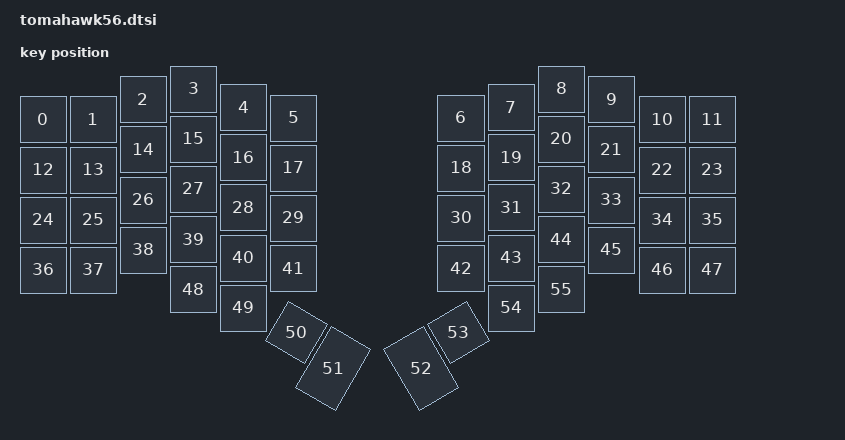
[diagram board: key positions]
#include <physical_layouts.dtsi>

/ {
    mityaliu_tomahawk56_layout: mityaliu_tomahawk56_layout {
        compatible = "zmk,physical-layout";
        display-name = "Default";

        kscan = <&kscan0>;
        transform = <&matrix_transform0>;

        keys  //                     w   h    x    y     rot    rx    ry
            = <&key_physical_attrs 100 100    0   61       0     0     0>
            , <&key_physical_attrs 100 100  100   61       0     0     0>
            , <&key_physical_attrs 100 100  200   21       0     0     0>
            , <&key_physical_attrs 100 100  301    0       0     0     0>
            , <&key_physical_attrs 100 100  401   37       0     0     0>
            , <&key_physical_attrs 100 100  501   58       0     0     0>
            , <&key_physical_attrs 100 100  836   58       0     0     0>
            , <&key_physical_attrs 100 100  937   37       0     0     0>
            , <&key_physical_attrs 100 100 1037    0       0     0     0>
            , <&key_physical_attrs 100 100 1137   21       0     0     0>
            , <&key_physical_attrs 100 100 1238   61       0     0     0>
            , <&key_physical_attrs 100 100 1338   61       0     0     0>
            , <&key_physical_attrs 100 100    0  162       0     0     0>
            , <&key_physical_attrs 100 100  100  162       0     0     0>
            , <&key_physical_attrs 100 100  200  121       0     0     0>
            , <&key_physical_attrs 100 100  301  100       0     0     0>
            , <&key_physical_attrs 100 100  401  137       0     0     0>
            , <&key_physical_attrs 100 100  501  158       0     0     0>
            , <&key_physical_attrs 100 100  836  158       0     0     0>
            , <&key_physical_attrs 100 100  937  137       0     0     0>
            , <&key_physical_attrs 100 100 1037  100       0     0     0>
            , <&key_physical_attrs 100 100 1137  121       0     0     0>
            , <&key_physical_attrs 100 100 1238  162       0     0     0>
            , <&key_physical_attrs 100 100 1338  162       0     0     0>
            , <&key_physical_attrs 100 100    0  262       0     0     0>
            , <&key_physical_attrs 100 100  100  262       0     0     0>
            , <&key_physical_attrs 100 100  200  222       0     0     0>
            , <&key_physical_attrs 100 100  301  200       0     0     0>
            , <&key_physical_attrs 100 100  401  237       0     0     0>
            , <&key_physical_attrs 100 100  501  258       0     0     0>
            , <&key_physical_attrs 100 100  836  258       0     0     0>
            , <&key_physical_attrs 100 100  937  237       0     0     0>
            , <&key_physical_attrs 100 100 1037  200       0     0     0>
            , <&key_physical_attrs 100 100 1137  222       0     0     0>
            , <&key_physical_attrs 100 100 1238  262       0     0     0>
            , <&key_physical_attrs 100 100 1338  262       0     0     0>
            , <&key_physical_attrs 100 100    0  362       0     0     0>
            , <&key_physical_attrs 100 100  100  362       0     0     0>
            , <&key_physical_attrs 100 100  200  322       0     0     0>
            , <&key_physical_attrs 100 100  301  301       0     0     0>
            , <&key_physical_attrs 100 100  401  338       0     0     0>
            , <&key_physical_attrs 100 100  501  359       0     0     0>
            , <&key_physical_attrs 100 100  836  359       0     0     0>
            , <&key_physical_attrs 100 100  937  338       0     0     0>
            , <&key_physical_attrs 100 100 1037  301       0     0     0>
            , <&key_physical_attrs 100 100 1137  322       0     0     0>
            , <&key_physical_attrs 100 100 1238  362       0     0     0>
            , <&key_physical_attrs 100 100 1338  362       0     0     0>
            , <&key_physical_attrs 100 100  301  401       0     0     0>
            , <&key_physical_attrs 100 100  401  438       0     0     0>
            , <&key_physical_attrs 100 100  507  487    3000   557   537>
            , <&key_physical_attrs 100 150  593  537    3000   643   587>
            , <&key_physical_attrs 100 150  744  537 (-3000)   794   587>
            , <&key_physical_attrs 100 100  831  487 (-3000)   881   537>
            , <&key_physical_attrs 100 100  937  438       0     0     0>
            , <&key_physical_attrs 100 100 1037  401       0     0     0>
            ;
    };
};
